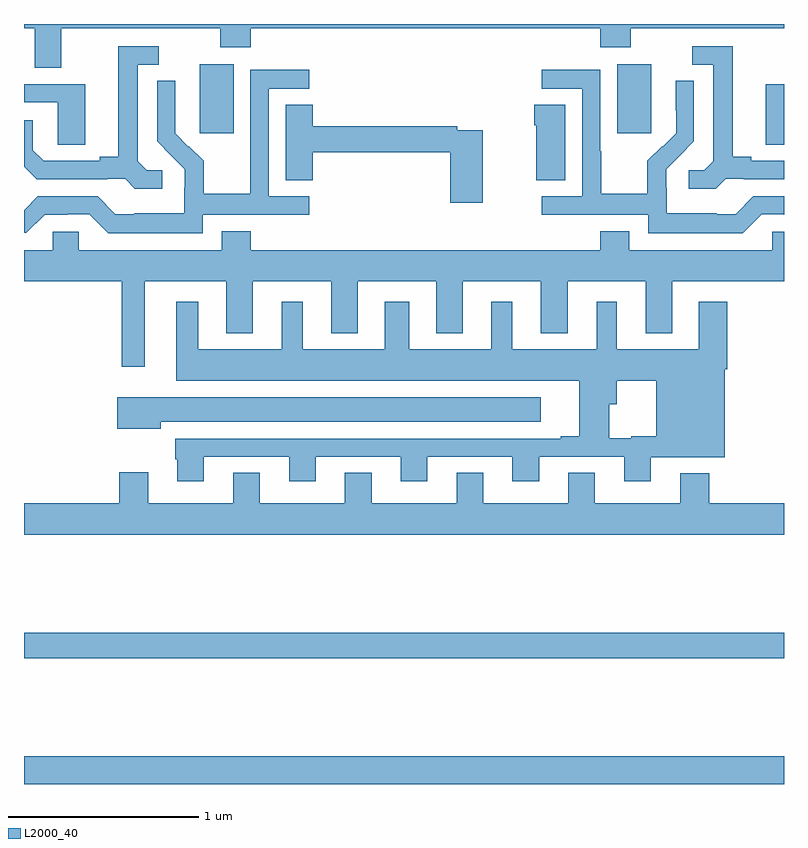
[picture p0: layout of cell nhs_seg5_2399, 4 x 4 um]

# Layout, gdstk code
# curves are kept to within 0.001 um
import gdstk
lib = gdstk.Library(unit=1e-6, precision=1e-09)
def R(c, l, rs):  # rectangles x0, y0, x1, y1
    for r in rs: c.add(gdstk.rectangle(r[:2], r[2:], *l))
def P(c, l, *ps):  # polygons
    for p in ps: c.add(gdstk.Polygon(p, *l))
L2000_40 = (2000, 40)

nhs_seg5_2399 = lib.new_cell('nhs_seg5_2399')
R(nhs_seg5_2399, L2000_40, [(251,836.799,255,836.944), (251,837.46,255,837.596), (254.903,840.163,255,840.483), (251.924,840.225,252.103,840.586), (254.123,840.225,254.302,840.586)])
P(nhs_seg5_2399, L2000_40, [(251.197,840.776),(252.034,840.776),(252.034,840.677),(252.194,840.677),(252.194,840.776),(254.033,840.776),(254.033,840.677),(254.193,840.677),(254.193,840.776),(255,840.776),(255,840.799),(251,840.799),(251,840.776),(251.057,840.776),(251.057,840.568),(251.197,840.568)],
  [(254.694,839.985),(254.788,839.985),(254.788,839.982),(255,839.982),(255,840.078),(254.827,840.078),(254.827,840.101),(254.731,840.101),(254.731,840.681),(254.517,840.681),(254.517,840.585),(254.627,840.585),(254.627,840.077),(254.58,840.03),(254.499,840.03),(254.499,839.933),(254.642,839.933)],
  [(251.728,840.03),(251.646,840.03),(251.599,840.077),(251.599,840.585),(251.71,840.585),(251.71,840.681),(251.495,840.681),(251.495,840.101),(251.399,840.101),(251.399,840.078),(251.104,840.078),(251.047,840.135),(251.047,840.292),(251,840.292),(251,840.048),(251.066,839.982),(251.438,839.982),(251.438,839.985),(251.532,839.985),(251.584,839.933),(251.728,839.933)],
  [(254.883,839.799),(254.999,839.799),(255,839.796),(255,839.892),(254.838,839.892),(254.745,839.799),(254.645,839.799),(254.645,839.803),(254.382,839.803),(254.382,839.937),(254.38,839.937),(254.38,840.034),(254.526,840.182),(254.526,840.5),(254.43,840.5),(254.43,840.346),(254.432,840.346),(254.432,840.224),(254.361,840.153),(254.358,840.156),(254.281,840.079),(254.281,839.905),(254.037,839.905),(254.037,840.128),(254.034,840.128),(254.034,840.558),(253.725,840.558),(253.725,840.459),(253.938,840.459),(253.938,839.892),(253.725,839.892),(253.725,839.796),(254.286,839.796),(254.286,839.699),(254.783,839.699)],
  [(251.94,839.796),(252.502,839.796),(252.502,839.892),(252.288,839.892),(252.288,840.459),(252.502,840.459),(252.502,840.558),(252.192,840.558),(252.192,840.128),(252.19,840.128),(252.19,839.905),(251.945,839.905),(251.945,840.079),(251.868,840.156),(251.865,840.153),(251.795,840.224),(251.796,840.5),(251.7,840.5),(251.7,840.182),(251.846,840.034),(251.846,839.937),(251.844,839.937),(251.844,839.803),(251.581,839.803),(251.581,839.799),(251.481,839.799),(251.388,839.892),(251.073,839.892),(251,839.819),(251,839.7),(251.013,839.7),(251.109,839.796),(251.228,839.796),(251.228,839.799),(251.343,839.799),(251.443,839.699),(251.94,839.699)],
  [(251.323,840.483),(251,840.483),(251,840.387),(251.178,840.387),(251.178,840.163),(251.323,840.163)],
  [(253.849,840.374),(253.685,840.374),(253.685,840.266),(253.697,840.266),(253.697,839.977),(253.849,839.977)],
  [(253.414,840.24),(253.28,840.24),(253.28,840.26),(252.521,840.26),(252.521,840.374),(252.377,840.374),(252.377,839.977),(252.521,839.977),(252.521,840.124),(253.244,840.124),(253.244,839.859),(253.414,839.859)],
  [(255,839.706),(254.937,839.706),(254.937,839.608),(254.185,839.608),(254.185,839.707),(254.033,839.707),(254.033,839.608),(252.194,839.608),(252.194,839.707),(252.041,839.707),(252.041,839.608),(251.289,839.608),(251.289,839.706),(251.151,839.706),(251.151,839.608),(251,839.608),(251,839.444),(251.514,839.444),(251.514,838.995),(251.635,838.995),(251.635,839.444),(252.065,839.444),(252.065,839.171),(252.205,839.171),(252.205,839.444),(252.617,839.444),(252.617,839.171),(252.757,839.171),(252.757,839.444),(253.169,839.444),(253.169,839.171),(253.309,839.171),(253.309,839.444),(253.721,839.444),(253.721,839.171),(253.861,839.171),(253.861,839.444),(254.273,839.444),(254.273,839.171),(254.413,839.171),(254.413,839.444),(255,839.444)],
  [(251.795,838.617),(251.795,838.509),(251.807,838.509),(251.807,838.392),(251.947,838.392),(251.947,838.521),(252.395,838.521),(252.395,838.392),(252.535,838.392),(252.535,838.521),(252.983,838.521),(252.983,838.392),(253.123,838.392),(253.123,838.521),(253.571,838.521),(253.571,838.392),(253.711,838.392),(253.711,838.521),(254.159,838.521),(254.159,838.392),(254.299,838.392),(254.299,838.52),(254.689,838.52),(254.689,838.982),(254.702,838.982),(254.702,839.338),(254.552,839.338),(254.552,839.086),(254.119,839.086),(254.119,839.338),(254.015,839.338),(254.015,839.086),(253.57,839.086),(253.57,839.338),(253.46,839.338),(253.46,839.086),(253.027,839.086),(253.027,839.338),(252.899,839.338),(252.899,839.086),(252.466,839.086),(252.466,839.338),(252.356,839.338),(252.356,839.086),(251.917,839.086),(251.917,839.338),(251.801,839.338),(251.801,838.922),(253.922,838.922),(253.922,838.63),(253.826,838.63),(253.826,838.619),(254.08,838.619),(254.08,838.799),(254.119,838.799),(254.119,838.922),(254.327,838.922),(254.327,838.63),(254.195,838.63),(254.195,838.619),(254.08,838.619),(253.826,838.619),(253.826,838.617)],
  [(251.719,838.706),(253.72,838.706),(253.72,838.834),(251.49,838.834),(251.49,838.67),(251.719,838.67)],
  [(255,838.276),(254.606,838.276),(254.606,838.435),(254.453,838.435),(254.453,838.276),(254.005,838.276),(254.005,838.436),(253.865,838.436),(253.865,838.276),(253.417,838.276),(253.417,838.436),(253.277,838.436),(253.277,838.276),(252.829,838.276),(252.829,838.436),(252.689,838.436),(252.689,838.276),(252.241,838.276),(252.241,838.436),(252.101,838.436),(252.101,838.276),(251.653,838.276),(251.653,838.441),(251.501,838.441),(251.501,838.276),(251,838.276),(251,838.112),(255,838.112)])

lib.write_gds('nhs_seg5_2399.gds')
